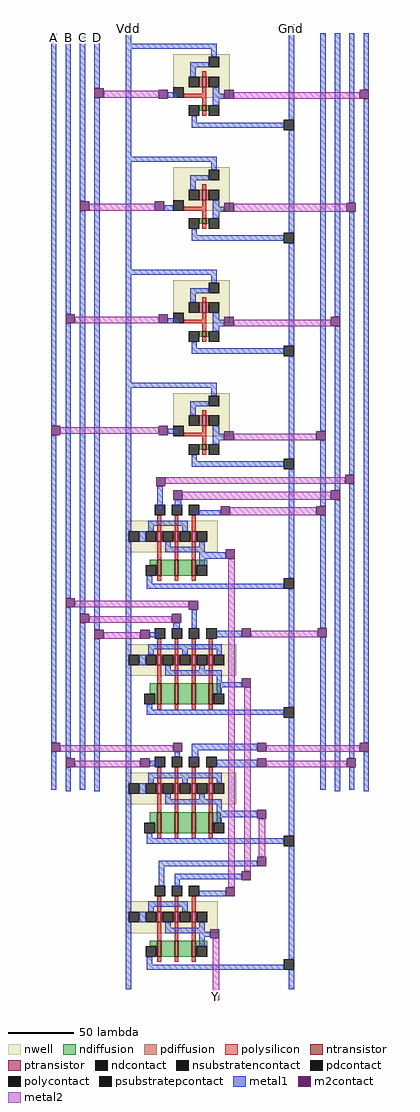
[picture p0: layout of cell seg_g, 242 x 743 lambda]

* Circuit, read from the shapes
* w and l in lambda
.subckt seg_g A B C D Gnd Vdd Y
M1 n1 n2 Gnd Gnd nfet w=12 l=3
M2 n3 B Gnd Gnd nfet w=16 l=3
M3 n4 D Gnd Gnd nfet w=16 l=3
M4 n5 n6 Gnd Gnd nfet w=12 l=3
M5 n7 n8 n1 Gnd nfet w=12 l=3
M6 n9 A n3 Gnd nfet w=16 l=3
M7 n10 C n4 Gnd nfet w=16 l=3
M8 n11 n12 n5 Gnd nfet w=12 l=3
M9 Y n13 n7 Gnd nfet w=12 l=3
M10 n14 n15 n9 Gnd nfet w=16 l=3
M11 n16 B n10 Gnd nfet w=16 l=3
M12 n13 n17 n11 Gnd nfet w=12 l=3
M13 n17 A Gnd Gnd nfet w=4 l=3
M14 n12 B Gnd Gnd nfet w=4 l=3
M15 n6 C Gnd Gnd nfet w=4 l=3
M16 n15 D Gnd Gnd nfet w=4 l=3
M17 n2 n6 n14 Gnd nfet w=16 l=3
M18 n8 n17 n16 Gnd nfet w=16 l=3
M19 Y n2 Vdd Vdd pfet w=8 l=3
M20 n2 B Vdd Vdd pfet w=8 l=3
M21 n8 D Vdd Vdd pfet w=8 l=3
M22 n13 n6 Vdd Vdd pfet w=8 l=3
M23 Vdd n8 Y Vdd pfet w=8 l=3
M24 Vdd A n2 Vdd pfet w=8 l=3
M25 Vdd C n8 Vdd pfet w=8 l=3
M26 Vdd n12 n13 Vdd pfet w=8 l=3
M27 Y n13 Vdd Vdd pfet w=8 l=3
M28 n2 n15 Vdd Vdd pfet w=8 l=3
M29 n8 B Vdd Vdd pfet w=8 l=3
M30 n13 n17 Vdd Vdd pfet w=8 l=3
M31 n17 A Vdd Vdd pfet w=8 l=3
M32 n12 B Vdd Vdd pfet w=8 l=3
M33 n6 C Vdd Vdd pfet w=8 l=3
M34 n15 D Vdd Vdd pfet w=8 l=3
M35 Vdd n6 n2 Vdd pfet w=8 l=3
M36 Vdd n17 n8 Vdd pfet w=8 l=3
.ends

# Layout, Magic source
magic
tech tsmc
<< metal1 >>
rect 0 86 4 93
rect 124 86 128 93
rect -57 -213 -53 86
rect -46 -128 -42 86
rect -35 -42 -31 86
rect -24 44 -20 86
rect -57 -454 -53 -220
rect -46 -344 -42 -135
rect -57 -490 -53 -461
rect -46 -466 -42 -351
rect -35 -356 -31 -49
rect -46 -491 -42 -473
rect -35 -490 -31 -363
rect -24 -368 -20 37
rect 32 37 39 41
rect 69 36 75 40
rect 29 -49 36 -45
rect 69 -50 75 -46
rect 32 -135 40 -131
rect 70 -137 75 -132
rect 32 -219 40 -215
rect 148 -217 152 86
rect 159 -130 163 86
rect 170 -43 174 86
rect 181 43 185 86
rect 70 -224 75 -219
rect 24 -277 28 -259
rect 37 -275 42 -269
rect 148 -274 152 -224
rect 159 -262 163 -137
rect 170 -250 174 -50
rect 54 -281 72 -277
rect 59 -314 76 -309
rect 36 -368 41 -363
rect 50 -367 54 -353
rect 148 -367 152 -281
rect 18 -374 25 -370
rect 69 -374 88 -369
rect -24 -491 -20 -375
rect 69 -412 88 -408
rect 0 -465 4 -448
rect 50 -460 100 -455
rect 37 -465 41 -461
rect 50 -466 55 -460
rect 18 -472 25 -468
rect 69 -473 100 -467
rect 148 -490 152 -374
rect 159 -491 163 -269
rect 170 -466 174 -257
rect 181 -454 185 36
rect 170 -490 174 -473
rect 181 -491 185 -461
rect 73 -511 100 -506
rect 25 -548 100 -544
rect 25 -563 29 -548
rect 37 -558 88 -554
rect 37 -565 41 -558
rect 56 -571 76 -567
rect 59 -602 64 -598
<< m2contact >>
rect -24 37 -17 44
rect -35 -49 -28 -42
rect -46 -135 -39 -128
rect -57 -220 -50 -213
rect -46 -351 -39 -344
rect -57 -461 -50 -454
rect -35 -363 -28 -356
rect -46 -473 -39 -466
rect 25 36 32 43
rect 75 36 82 43
rect 22 -49 29 -42
rect 75 -50 82 -43
rect 25 -135 32 -128
rect 75 -137 82 -130
rect 25 -220 32 -213
rect 178 36 185 43
rect 168 -50 175 -43
rect 156 -137 163 -130
rect 75 -224 82 -217
rect 145 -224 152 -217
rect 23 -259 30 -252
rect 36 -269 43 -262
rect 167 -257 174 -250
rect 156 -269 163 -262
rect 72 -281 79 -274
rect 145 -281 152 -274
rect 76 -314 83 -307
rect 48 -353 55 -346
rect 35 -363 42 -356
rect -24 -375 -17 -368
rect 11 -375 18 -368
rect 88 -374 95 -367
rect 146 -374 153 -367
rect 88 -412 95 -405
rect 36 -461 43 -454
rect 100 -461 107 -454
rect 11 -473 18 -466
rect 100 -473 107 -466
rect 178 -461 185 -454
rect 168 -473 175 -466
rect 100 -512 107 -505
rect 100 -548 107 -541
rect 88 -559 95 -552
rect 76 -571 83 -564
rect 64 -603 71 -596
<< metal2 >>
rect -17 37 25 42
rect 82 36 178 41
rect -28 -49 22 -44
rect 82 -50 168 -44
rect -39 -135 25 -130
rect 82 -137 156 -132
rect -50 -219 25 -214
rect 82 -224 145 -219
rect 30 -257 167 -252
rect 43 -269 156 -263
rect 79 -281 145 -275
rect -39 -351 48 -346
rect -28 -363 35 -358
rect -17 -375 11 -370
rect -50 -461 36 -456
rect -39 -473 11 -468
rect 78 -564 83 -314
rect 95 -374 146 -369
rect 90 -552 95 -412
rect 107 -461 178 -456
rect 107 -473 168 -468
rect 101 -541 106 -512
rect 66 -650 71 -603
use 1INV  1INV_0
transform 1 0 49 0 1 20
box -49 -20 79 66
use 1INV  1INV_1
transform 1 0 49 0 1 -66
box -49 -20 79 66
use 1INV  1INV_2
transform 1 0 49 0 1 -152
box -49 -20 79 66
use 1INV  1INV_3
transform 1 0 49 0 1 -238
box -49 -20 79 66
use 3NAND  3NAND_0
transform 1 0 18 0 1 -301
box -18 -51 110 43
use 4NAND  4NAND_0
transform 1 0 18 0 1 -395
box -18 -55 110 43
use 4NAND  4NAND_1
transform 1 0 18 0 1 -493
box -18 -55 110 43
use 3NAND  3NAND_1
transform 1 0 18 0 1 -591
box -18 -51 110 43
<< labels >>
rlabel metal1 -57 79 -53 86 4 A
rlabel metal1 -46 79 -42 86 5 B
rlabel metal1 -35 79 -31 86 5 C
rlabel metal1 -24 79 -20 86 5 D
rlabel metal1 0 86 4 93 5 Vdd
rlabel metal1 124 86 128 93 5 Gnd
rlabel metal2 66 -650 71 -645 1 Y
<< end >>

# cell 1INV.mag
magic
tech tsmc
<< nwell >>
rect -13 17 30 50
<< ntransistor >>
rect 9 7 12 11
<< ptransistor >>
rect 9 25 12 33
<< ndiffusion >>
rect 7 7 9 11
rect 12 7 14 11
<< pdiffusion >>
rect 7 25 9 33
rect 12 25 14 33
<< ndcontact >>
rect -1 3 7 11
rect 14 3 22 11
<< pdcontact >>
rect -1 25 7 33
rect 14 25 22 33
<< psubstratepcontact >>
rect 71 -8 79 0
<< nsubstratencontact >>
rect 14 40 22 48
<< polysilicon >>
rect 9 33 12 37
rect 9 20 12 25
rect -5 17 12 20
rect 9 11 12 17
rect 9 3 12 7
<< polycontact >>
rect -13 17 -5 25
<< metal1 >>
rect -49 58 -45 66
rect -49 54 20 58
rect -49 -20 -45 54
rect 16 48 20 54
rect 0 40 14 44
rect 0 33 4 40
rect 17 11 22 25
rect 1 -2 5 3
rect 75 0 79 66
rect 1 -6 71 -2
rect 75 -20 79 -8
<< end >>

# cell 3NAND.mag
magic
tech tsmc
<< nwell >>
rect -18 -8 52 16
<< ntransistor >>
rect 6 -26 9 -14
rect 19 -26 22 -14
rect 32 -26 35 -14
<< ptransistor >>
rect 6 0 9 8
rect 19 0 22 8
rect 32 0 35 8
<< ndiffusion >>
rect 0 -18 6 -14
rect 5 -26 6 -18
rect 9 -26 19 -14
rect 22 -26 32 -14
rect 35 -18 44 -14
rect 35 -26 36 -18
<< pdiffusion >>
rect 5 0 6 8
rect 9 0 10 8
rect 18 0 19 8
rect 22 0 23 8
rect 31 0 32 8
rect 35 0 36 8
<< ndcontact >>
rect -3 -26 5 -18
rect 36 -26 44 -18
<< pdcontact >>
rect -3 0 5 8
rect 10 0 18 8
rect 23 0 31 8
rect 36 0 44 8
<< psubstratepcontact >>
rect 102 -36 110 -28
<< nsubstratencontact >>
rect -16 0 -8 8
<< polysilicon >>
rect 6 8 9 20
rect 19 8 22 20
rect 32 8 35 20
rect 6 -14 9 0
rect 19 -14 22 0
rect 32 -14 35 0
rect 6 -30 9 -26
rect 19 -30 22 -26
rect 32 -30 35 -26
<< polycontact >>
rect 4 20 12 28
rect 17 20 25 28
rect 30 20 38 28
<< metal1 >>
rect -18 8 -14 43
rect -1 12 29 16
rect -1 8 3 12
rect 25 8 29 12
rect -18 0 -16 8
rect -8 0 -3 8
rect -18 -51 -14 0
rect 12 -4 16 0
rect 38 -4 42 0
rect 12 -8 42 -4
rect 38 -18 42 -8
rect -2 -32 2 -26
rect 106 -28 110 43
rect -2 -36 102 -32
rect 106 -51 110 -36
<< end >>

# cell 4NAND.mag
magic
tech tsmc
<< nwell >>
rect -18 -8 66 16
<< ntransistor >>
rect 6 -30 9 -14
rect 19 -30 22 -14
rect 32 -30 35 -14
rect 45 -30 48 -14
<< ptransistor >>
rect 6 0 9 8
rect 19 0 22 8
rect 32 0 35 8
rect 45 0 48 8
<< ndiffusion >>
rect 0 -22 6 -14
rect 4 -30 6 -22
rect 9 -30 19 -14
rect 22 -30 32 -14
rect 35 -30 45 -14
rect 48 -22 54 -14
rect 48 -30 49 -22
<< pdiffusion >>
rect 5 0 6 8
rect 9 0 10 8
rect 18 0 19 8
rect 22 0 23 8
rect 31 0 32 8
rect 35 0 36 8
rect 44 0 45 8
rect 48 0 49 8
<< ndcontact >>
rect -4 -30 4 -22
rect 49 -30 57 -22
<< pdcontact >>
rect -3 0 5 8
rect 10 0 18 8
rect 23 0 31 8
rect 36 0 44 8
rect 49 0 57 8
<< psubstratepcontact >>
rect 102 -40 110 -32
<< nsubstratencontact >>
rect -16 0 -8 8
<< polysilicon >>
rect 6 8 9 20
rect 19 8 22 20
rect 32 8 35 20
rect 45 8 48 20
rect 6 -14 9 0
rect 19 -14 22 0
rect 32 -14 35 0
rect 45 -14 48 0
rect 6 -34 9 -30
rect 19 -34 22 -30
rect 32 -34 35 -30
rect 45 -34 48 -30
<< polycontact >>
rect 4 20 12 28
rect 17 20 25 28
rect 30 20 38 28
rect 43 20 51 28
<< metal1 >>
rect -18 8 -14 43
rect -1 12 55 16
rect -1 8 3 12
rect 25 8 29 12
rect 51 8 55 12
rect -18 0 -16 8
rect -8 0 -3 8
rect -18 -55 -14 0
rect 12 -4 16 0
rect 38 -4 42 0
rect 12 -8 55 -4
rect 51 -22 55 -8
rect -2 -34 2 -30
rect 106 -32 110 43
rect -2 -38 102 -34
rect 106 -55 110 -40
<< end >>
